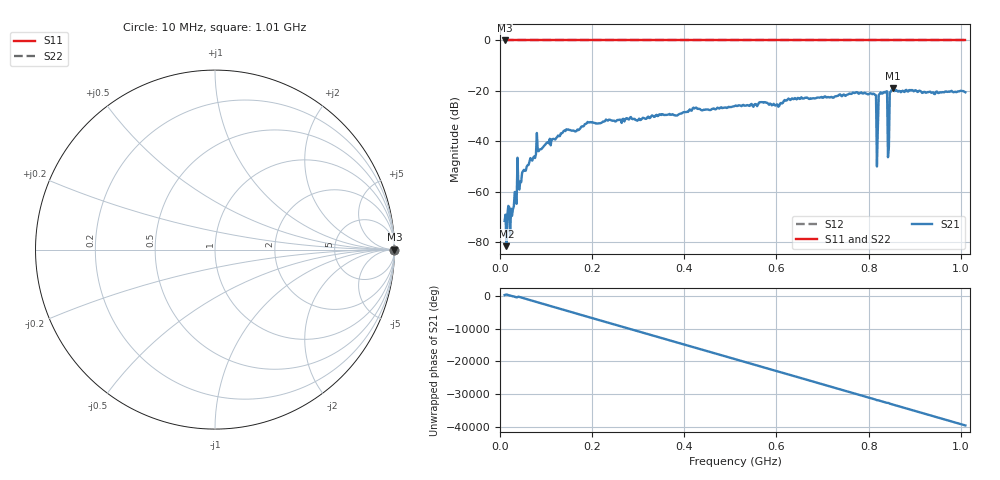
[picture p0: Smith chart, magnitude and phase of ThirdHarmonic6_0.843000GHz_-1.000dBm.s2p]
! 8/16/2025 3:56:37 AM
! C:\ANRITSUVNA\TEMP\TEMP.S2P
! CHANNEL.1
! TR.MEASUREMENT
! RAW.DATA
! RF.CORRECTION.OFF
! AVERAGING.OFF
! IF.BANDWIDTH: 5KHZ
! SWEEPTYPE:  FREQ.SWEEP(Linear)
! Reference Plane Port Info
! PORT:  PORT1  PORT2
! DISTANCE:  0  m  0  m
! TIME:  0  s  0  s
! PHASE.OFFSET:  0  deg.  0  deg.
! LOSS:  0  dB  0  dB
! REF.LOSS:  0  dB  0  dB
! REF.FREQ:  0  Hz  0  Hz
! Power Info
! POWER:  -20  dBm  -20  dBm
! EFF.POWER:  -20  dBm  -20  dBm
! SOURCE.ATTEN:  0  dB  0  dB
! TEST.ATTEN:  0  dB  0  dB
# GHZ S RI R 50.0
! FREQ.GHZ  S11RE  S11IM  S21RE  S21IM  S12RE  S12IM  S22RE  S22IM
!; PortSelection: Port_12
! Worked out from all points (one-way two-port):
!   501 points, 10 MHz to 1.01 GHz, reference 50 ohm
!   highest |S21| = -19.00 dB at 852 MHz (marker M1); lowest = -81.6 dB at 14 MHz (marker M2)
!   lowest |S11| = 0.0 dB at 10 MHz (marker M3)
!   |S11| at or under -10 dB: nowhere
!   |S22| runs from 0.0 to 0.0 dB; largest |S21 - S12| = 1.1
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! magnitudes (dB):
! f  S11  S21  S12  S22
! 10 MHz  0.0  -71.6  0.0  0.0
! 14 MHz  0.0  -81.6  0.0  0.0
! 26 MHz  0.0  -69.6  0.0  0.0
! 42 MHz  0.0  -59.2  0.0  0.0
! 82 MHz  0.0  -43.9  0.0  0.0
! 178 MHz  0.0  -34.1  0.0  0.0
! 344 MHz  0.0  -29.9  0.0  0.0
! 510 MHz  0.0  -26.0  0.0  0.0
! 678 MHz  0.0  -23.0  0.0  0.0
! 808 MHz  0.0  -21.3  0.0  0.0
! 812 MHz  0.0  -21.2  0.0  0.0
! 814 MHz  0.0  -21.6  0.0  0.0
! 818 MHz  0.0  -50.0  0.0  0.0
! 822 MHz  0.0  -21.6  0.0  0.0
! 826 MHz  0.0  -20.6  0.0  0.0
! 836 MHz  0.0  -20.7  0.0  0.0
! 840 MHz  0.0  -20.2  0.0  0.0
! 844 MHz  0.0  -42.1  0.0  0.0
! 846 MHz  0.0  -20.7  0.0  0.0
! 850 MHz  0.0  -19.7  0.0  0.0
! 852 MHz  0.0  -19.0  0.0  0.0
! 1.01 GHz  0.0  -20.6  0.0  0.0
